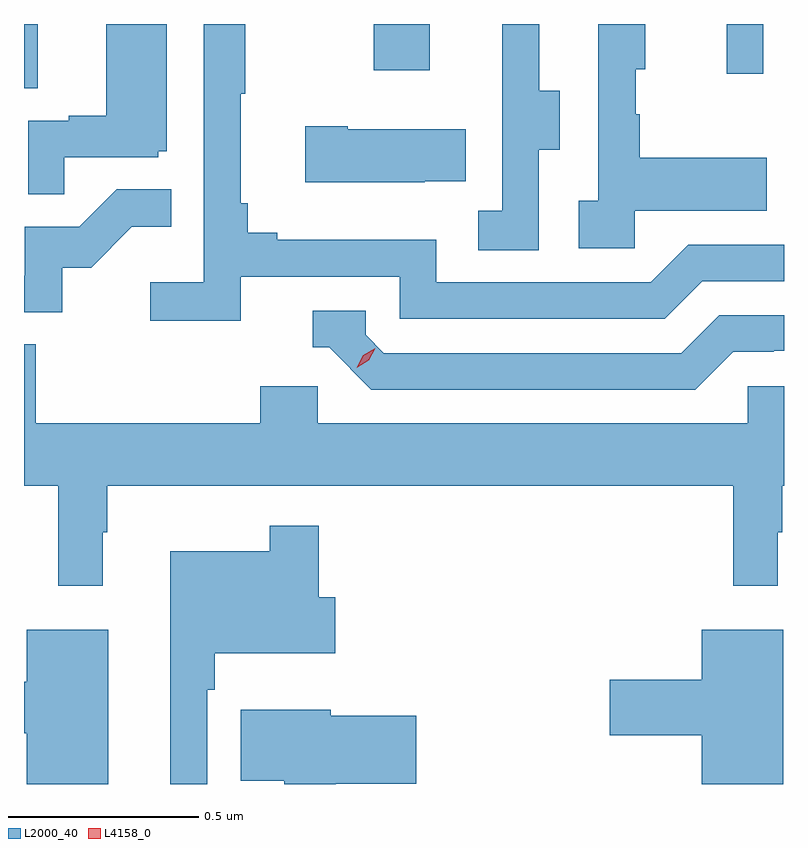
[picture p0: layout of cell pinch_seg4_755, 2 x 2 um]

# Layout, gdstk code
import gdstk
lib = gdstk.Library(unit=1e-6, precision=1e-09)
def R(c, l, rs):  # rectangles x0, y0, x1, y1
    for r in rs: c.add(gdstk.rectangle(r[:2], r[2:], *l))
def P(c, l, *ps):  # polygons
    for p in ps: c.add(gdstk.Polygon(p, *l))
L2000_40 = (2000, 40)
L4158_0 = (4158, 0)

pinch_seg4_755 = lib.new_cell('pinch_seg4_755')
R(pinch_seg4_755, L2000_40, [(875.749,819.178,875.785,819.347), (877.598,819.216,877.695,819.347), (876.67,819.225,876.817,819.347)])
P(pinch_seg4_755, L2000_40, [(876.32,818.682),(876.738,818.682),(876.738,818.571),(877.435,818.571),(877.534,818.67),(877.749,818.67),(877.749,818.766),(877.497,818.766),(877.398,818.667),(876.834,818.667),(876.834,818.779),(876.415,818.779),(876.415,818.798),(876.338,818.798),(876.338,818.875),(876.319,818.875),(876.319,819.163),(876.331,819.163),(876.331,819.347),(876.222,819.347),(876.222,818.668),(876.081,818.668),(876.081,818.566),(876.32,818.566)],
  [(875.855,818.997),(876.102,818.997),(876.102,819.012),(876.124,819.012),(876.124,819.347),(875.966,819.347),(875.966,819.106),(875.867,819.106),(875.867,819.093),(875.76,819.093),(875.76,818.899),(875.855,818.899)],
  [(877.356,818.855),(877.703,818.855),(877.703,818.995),(877.369,818.995),(877.369,819.11),(877.359,819.11),(877.359,819.228),(877.384,819.228),(877.384,819.347),(877.26,819.347),(877.26,818.882),(877.209,818.882),(877.209,818.757),(877.356,818.757)],
  [(877.104,819.016),(877.159,819.016),(877.159,819.171),(877.105,819.171),(877.105,819.347),(877.007,819.347),(877.007,819.159),(877.008,819.159),(877.008,818.855),(876.945,818.855),(876.945,818.752),(877.104,818.752)],
  [(876.803,818.933),(876.911,818.933),(876.911,819.07),(876.601,819.07),(876.601,819.078),(876.489,819.078),(876.489,818.93),(876.803,818.93)],
  [(875.85,818.706),(875.926,818.706),(876.033,818.813),(876.137,818.813),(876.137,818.912),(875.993,818.912),(875.895,818.814),(875.751,818.814),(875.751,818.685),(875.749,818.685),(875.749,818.589),(875.85,818.589)],
  [(877.615,818.484),(877.722,818.484),(877.722,818.487),(877.749,818.487),(877.749,818.58),(877.578,818.58),(877.479,818.481),(876.696,818.481),(876.648,818.529),(876.648,818.592),(876.509,818.592),(876.509,818.496),(876.552,818.496),(876.663,818.385),(877.516,818.385)],
  [(875.956,818.009),(875.968,818.009),(875.968,818.132),(877.615,818.132),(877.615,817.869),(877.732,817.869),(877.732,818.009),(877.744,818.009),(877.744,818.132),(877.749,818.132),(877.749,818.394),(877.653,818.394),(877.653,818.296),(876.522,818.296),(876.522,818.394),(876.371,818.394),(876.371,818.296),(875.78,818.296),(875.78,818.504),(875.749,818.504),(875.749,818.132),(875.839,818.132),(875.839,817.869),(875.956,817.869)],
  [(876.231,817.595),(876.251,817.595),(876.251,817.691),(876.568,817.691),(876.568,817.839),(876.524,817.839),(876.524,818.026),(876.396,818.026),(876.396,817.96),(876.134,817.96),(876.134,817.347),(876.231,817.347)],
  [(877.747,817.753),(877.532,817.753),(877.532,817.622),(877.29,817.622),(877.29,817.475),(877.532,817.475),(877.532,817.347),(877.747,817.347)],
  [(875.971,817.753),(875.756,817.753),(875.756,817.616),(875.749,817.616),(875.749,817.48),(875.756,817.48),(875.756,817.347),(875.971,817.347)],
  [(876.569,817.348),(876.781,817.348),(876.781,817.526),(876.556,817.526),(876.556,817.543),(876.32,817.543),(876.32,817.355),(876.434,817.355),(876.434,817.347),(876.569,817.347)])
P(pinch_seg4_755, L4158_0, [(876.625,818.443),(876.625,818.443),(876.642,818.475),(876.673,818.494),(876.673,818.494),(876.673,818.494),(876.656,818.462),(876.625,818.443)])

lib.write_gds('pinch_seg4_755.gds')
